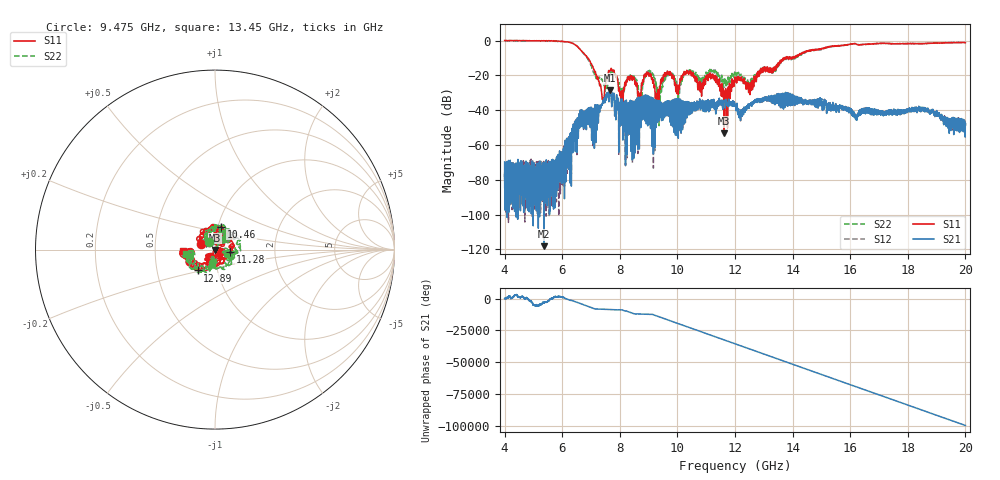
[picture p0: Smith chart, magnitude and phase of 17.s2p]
[Version] 2.0
! Rohde & Schwarz Vector Network Analyzer
! Rohde-Schwarz,ZNL20-2Port,1323001220200009,1.71.1.10-23.02.1.238
! Port Assignments:
! Nominal Port -> Actual Test Port
!  1 -> 1
!  2 -> 2
! Created: GMT+2 2025-01-16 20:26:27
# Hz S RI R 50
[Number of Ports] 2
[Two-Port Data Order] 21_12
! freq[Hz]  S11[Re]  S11[Im]  S21[Re]  S21[Im]  S12[Re]  S12[Im]  S22[Re]  S22[Im]
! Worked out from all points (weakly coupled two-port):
!   16001 points, 4 GHz to 20 GHz, reference 50 ohm
!   highest |S21| = -28.51 dB at 7.65 GHz (marker M1); lowest = -118.1 dB at 5.361 GHz (marker M2)
!   lowest |S11| = -53.2 dB at 11.62 GHz (marker M3), VSWR 1.00, Z = 50 - j0.219 ohm
!   |S11| at or under -10 dB: 6.886 GHz to 13.7 GHz (6.815 GHz wide, 66.2 % of centre); 13.71505 GHz to 13.7437 GHz (28.65 MHz wide, 0.209 % of centre); 13.9435 GHz to 13.96743 GHz (23.94 MHz wide, 0.172 % of centre) (the widest 3 of 9)
!   |S22| runs from -48.9 to 0.0 dB; largest |S21 - S12| = 0.0024
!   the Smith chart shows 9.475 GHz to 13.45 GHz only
!   S11 on the Smith chart (normalised r, x): 9.475 GHz: 0.86, +0.06; 10.46 GHz: 1.04, +0.27; 11.28 GHz: 1.19, -0.04; 12.89 GHz: 0.80, -0.19; 13.45 GHz: 0.70, -0.01
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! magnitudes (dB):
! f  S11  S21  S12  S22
! 4 GHz  0.0  -69.9  -76.5  -0.2
! 5.361 GHz  0.0  -118.1  -77.8  -0.3
! 5.771 GHz  -0.2  -85.4  -82.6  -0.4
! 6.667 GHz  -6.0  -40.7  -40.5  -6.0
! 7.4 GHz  -33.8  -35.9  -36.1  -23.1
! 7.65 GHz  -17.4  -28.5  -28.5  -19.8
! 8.044 GHz  -38.1  -35.8  -35.6  -30.5
! 8.43 GHz  -22.8  -41.7  -41.7  -21.6
! 8.718 GHz  -34.2  -39.8  -39.9  -38.1
! 9.006 GHz  -20.4  -34.4  -34.3  -18.8
! 9.334 GHz  -28.2  -34.5  -34.4  -32.0
! 9.475 GHz  -21.6  -36.2  -36.4  -25.1
! 10.01 GHz  -26.0  -33.6  -33.5  -27.1
! 10.46 GHz  -17.5  -40.3  -40.3  -17.0
! 11.28 GHz  -21.2  -37.8  -38.0  -18.3
! 11.62 GHz  -53.2  -35.1  -35.3  -24.3
! 12 GHz  -21.7  -37.6  -37.8  -19.1
! 12.89 GHz  -16.4  -33.9  -33.8  -15.9
! 13.45 GHz  -14.9  -32.1  -32.0  -15.7
! 14.67 GHz  -5.5  -34.6  -34.5  -5.8
! 17.33 GHz  -1.8  -40.6  -41.0  -1.8
! 20 GHz  -1.2  -47.8  -48.1  -1.1
